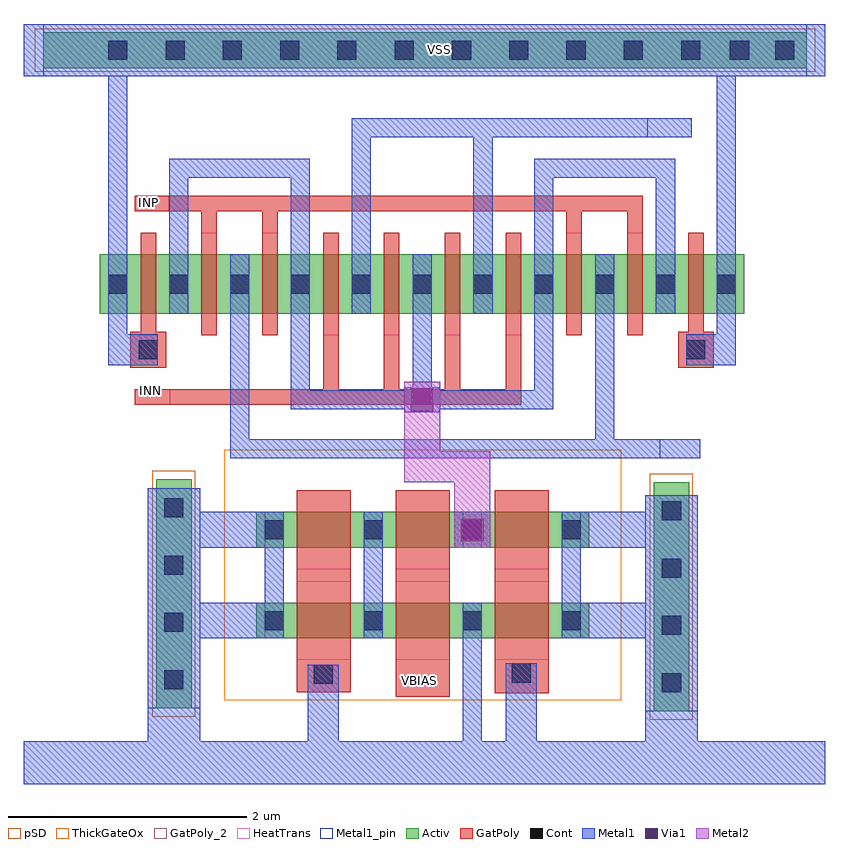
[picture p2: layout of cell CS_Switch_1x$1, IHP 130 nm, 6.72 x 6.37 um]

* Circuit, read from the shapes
.subckt CS_Switch_1x$1 INN INP VBIAS VSS
XM1 n1 VSS VSS VSS sg13_lv_nmos w=0.5u l=0.13u m=2
XM2 n2 INP n1 VSS sg13_lv_nmos w=0.5u l=0.13u m=4
XM3 n3 VSS VSS VSS sg13_hv_nmos w=0.3u l=0.45u m=2
XM4 n4 INN n1 VSS sg13_lv_nmos w=0.5u l=0.13u m=4
XM5 VSS VBIAS n3 VSS sg13_hv_nmos w=0.3u l=0.45u
XM6 n1 VBIAS n3 VSS sg13_hv_nmos w=0.3u l=0.45u
XM7 VSS VSS VSS VSS sg13_hv_nmos w=0.3u l=0.45u
XM8 VSS VSS n1 VSS sg13_hv_nmos w=0.3u l=0.45u
.ends

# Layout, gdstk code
import gdstk
lib = gdstk.Library(unit=1e-6, precision=1e-09)
def R(c, l, rs):  # rectangles x0, y0, x1, y1
    for r in rs: c.add(gdstk.rectangle(r[:2], r[2:], *l))
def A(c, l, x, y, w, h, nx, ny, dx, dy):  # array of equal rectangles
    R(c, l, [(x+i*dx, y+j*dy, x+i*dx+w, y+j*dy+h) for i in range(nx) for j in range(ny)])
def P(c, l, *ps):  # polygons
    for p in ps: c.add(gdstk.Polygon(p, *l))
Activ = (1, 0)
GatPoly = (5, 0)
GatPoly_2 = (5, 2)
Cont = (6, 0)
Metal1 = (8, 0)
Metal1_pin = (8, 2)
Metal2 = (10, 0)
pSD = (14, 0)
Via1 = (19, 0)
ThickGateOx = (44, 0)
HeatTrans = (51, 0)

nmoshv_1_2 = lib.new_cell('nmosHV$1$2')
R(nmoshv_1_2, Activ, [(0,0,0.3,0.3), (0,0,1.13,0.3), (0.83,0,1.13,0.3)])
R(nmoshv_1_2, GatPoly, [(0.34,-0.18,0.79,0.48)])
R(nmoshv_1_2, GatPoly_2, [(0.34,-0.18,0.79,0.48)])
R(nmoshv_1_2, Cont, [(0.07,0.07,0.23,0.23), (0.9,0.07,1.06,0.23)])
R(nmoshv_1_2, Metal1, [(0.07,0,0.23,0.3), (0.9,0,1.06,0.3)])
R(nmoshv_1_2, Metal1_pin, [(0.07,0,0.23,0.3), (0.9,0,1.06,0.3)])
R(nmoshv_1_2, ThickGateOx, [(-0.27,-0.52,1.4,0.82)])
R(nmoshv_1_2, HeatTrans, [(0.34,-0.18,0.79,0.48)])
nmoshv_1_2.add(gdstk.Label('nmosHV', (0.565,0.15), layer=63, texttype=0))
nmoshv_1_2.add(gdstk.Label('nmosHV', (0.565,0.15), layer=51, texttype=0))

via_stack_1_3 = lib.new_cell('via_stack$1$3')
R(via_stack_1_3, Metal1, [(-0.145,-0.105,0.145,0.105)])
R(via_stack_1_3, Metal2, [(-0.145,-0.1,0.145,0.1)])
R(via_stack_1_3, Via1, [(-0.095,-0.095,0.095,0.095)])

nmos_8 = lib.new_cell('nmos$8')
A(nmos_8, Activ, 0, 0, 0.3, 0.3, 3, 1, 0.51, 0)
R(nmos_8, Activ, [(0,0,1.32,0.5)])
R(nmos_8, GatPoly, [(0.34,-0.18,0.47,0.68), (0.85,-0.18,0.98,0.68)])
R(nmos_8, GatPoly_2, [(0.34,-0.18,0.47,0.68)])
A(nmos_8, Cont, 0.07, 0.17, 0.16, 0.16, 3, 1, 0.51, 0)
A(nmos_8, Metal1, 0.07, 0, 0.16, 0.5, 3, 1, 0.51, 0)
R(nmos_8, Metal1_pin, [(0.07,0,0.23,0.5), (0.58,0,0.74,0.5)])
R(nmos_8, HeatTrans, [(0.34,-0.18,0.47,0.68), (0.85,-0.18,0.98,0.68)])
nmos_8.add(gdstk.Label('nmos', (0.405,0.25), layer=63, texttype=0))
nmos_8.add(gdstk.Label('nmos', (0.405,0.25), layer=51, texttype=0))
nmos_8.add(gdstk.Label('nmos', (0.915,0.25), layer=51, texttype=0))

nmoshv_5 = lib.new_cell('nmosHV$5')
R(nmoshv_5, Activ, [(0,0,0.3,0.3), (0,0,1.13,0.3), (0.83,0,1.13,0.3)])
R(nmoshv_5, GatPoly, [(0.34,-0.18,0.79,0.48)])
R(nmoshv_5, GatPoly_2, [(0.34,-0.18,0.79,0.48)])
R(nmoshv_5, Cont, [(0.07,0.07,0.23,0.23), (0.9,0.07,1.06,0.23)])
R(nmoshv_5, Metal1, [(0.07,0,0.23,0.3), (0.9,0,1.06,0.3)])
R(nmoshv_5, Metal1_pin, [(0.07,0,0.23,0.3), (0.9,0,1.06,0.3)])
R(nmoshv_5, ThickGateOx, [(-0.27,-0.52,1.4,0.82)])
R(nmoshv_5, HeatTrans, [(0.34,-0.18,0.79,0.48)])
nmoshv_5.add(gdstk.Label('nmosHV', (0.565,0.15), layer=63, texttype=0))
nmoshv_5.add(gdstk.Label('nmosHV', (0.565,0.15), layer=51, texttype=0))

nmos_3_1 = lib.new_cell('nmos$3$1')
R(nmos_3_1, Activ, [(0,0,0.3,0.3), (0,0,0.81,0.5), (0.51,0,0.81,0.3)])
R(nmos_3_1, GatPoly, [(0.34,-0.18,0.47,0.68)])
R(nmos_3_1, GatPoly_2, [(0.34,-0.18,0.47,0.68)])
R(nmos_3_1, Cont, [(0.07,0.17,0.23,0.33), (0.58,0.17,0.74,0.33)])
R(nmos_3_1, Metal1, [(0.07,0,0.23,0.5), (0.58,0,0.74,0.5)])
R(nmos_3_1, Metal1_pin, [(0.07,0,0.23,0.5), (0.58,0,0.74,0.5)])
R(nmos_3_1, HeatTrans, [(0.34,-0.18,0.47,0.68)])
nmos_3_1.add(gdstk.Label('nmos', (0.405,0.25), layer=63, texttype=0))
nmos_3_1.add(gdstk.Label('nmos', (0.405,0.25), layer=51, texttype=0))

cs_switch_1x_1 = lib.new_cell('CS_Switch_1x$1')
R(cs_switch_1x_1, Activ, [(1.58,-2.68,1.88,-0.76), (-2.59,-2.655,-2.29,-0.735), (-3.535,2.71,2.865,3.01)])
A(cs_switch_1x_1, GatPoly, -1.19, 0.02, 0.13, 0.45, 4, 1, 0.51, 0)
R(cs_switch_1x_1, GatPoly, [(-0.58,-2.56,-0.13,-0.83), (0.25,-2.53,0.7,-0.85), (-1.41,-2.52,-0.96,-0.83), (-2.77,-0.11,0.47,0.02), (-2.805,0.2,-2.505,0.5), (1.785,0.2,2.085,0.5), (-2.21,1.33,-2.08,1.64), (-1.7,1.33,-1.57,1.64), (0.85,1.33,0.98,1.64), (1.36,1.33,1.49,1.64), (-2.77,1.51,0.849,1.64), (0.849,1.51,1.49,1.64)])
R(cs_switch_1x_1, GatPoly_2, [(-0.58,-2.56,-0.13,-2.25), (-2.77,-0.11,-2.47,0.02), (-2.77,1.51,-2.48,1.64)])
R(cs_switch_1x_1, Cont, [(1.65,-2.52,1.81,-2.36), (1.65,-2.52,1.81,-2.36), (-2.52,-2.495,-2.36,-2.335), (-2.52,-2.495,-2.36,-2.335), (-1.27,-2.45,-1.11,-2.29), (0.39,-2.44,0.55,-2.28), (1.65,-2.04,1.81,-1.88), (1.65,-2.04,1.81,-1.88), (-2.52,-2.015,-2.36,-1.855), (-2.52,-2.015,-2.36,-1.855), (1.65,-1.56,1.81,-1.4), (1.65,-1.56,1.81,-1.4), (-2.52,-1.535,-2.36,-1.375), (-2.52,-1.535,-2.36,-1.375), (1.65,-1.08,1.81,-0.92), (1.65,-1.08,1.81,-0.92), (-2.52,-1.055,-2.36,-0.895), (-2.52,-1.055,-2.36,-0.895), (-2.735,0.27,-2.575,0.43), (1.855,0.27,2.015,0.43), (-2.99,2.78,-2.83,2.94), (-2.99,2.78,-2.83,2.94), (-2.51,2.78,-2.35,2.94), (-2.51,2.78,-2.35,2.94), (-2.03,2.78,-1.87,2.94), (-2.03,2.78,-1.87,2.94), (-1.55,2.78,-1.39,2.94), (-1.55,2.78,-1.39,2.94), (-1.07,2.78,-0.91,2.94), (-1.07,2.78,-0.91,2.94), (-0.59,2.78,-0.43,2.94), (-0.59,2.78,-0.43,2.94), (-0.11,2.78,0.05,2.94), (-0.11,2.78,0.05,2.94), (0.37,2.78,0.53,2.94), (0.37,2.78,0.53,2.94), (0.85,2.78,1.01,2.94), (0.85,2.78,1.01,2.94), (1.33,2.78,1.49,2.94), (1.33,2.78,1.49,2.94), (1.81,2.78,1.97,2.94), (1.81,2.78,1.97,2.94), (2.22,2.78,2.38,2.94), (2.22,2.78,2.38,2.94), (2.6,2.78,2.76,2.94), (2.6,2.78,2.76,2.94)])
P(cs_switch_1x_1, Cont, [(0.499,-2.35),(0.499,-2.35),(0.499,-2.35),(0.499,-2.35)])
A(cs_switch_1x_1, Metal1, -1.46, 0.01, 0.16, 0.64, 3, 1, 1.02, 0)
R(cs_switch_1x_1, Metal1, [(-2.421,-2.07,-1.52,-1.77), (-1.68,-2.07,-1.52,-1.01), (0.81,-2.07,0.97,-1.01), (0.81,-2.07,1.95,-1.77), (-0.85,-1.97,-0.69,-1.01), (0.81,-1.97,0.97,-1.01), (-2.421,-1.31,-1.52,-1.01), (-0.09,-1.31,0.21,-1.01), (0.81,-1.31,1.95,-1.01), (-1.97,-0.56,1.97,-0.4), (-1.97,-0.4,-1.81,0.65), (1.09,-0.4,1.25,0.65), (-1.46,-0.15,0.74,0.01), (-2.99,0.22,-2.575,0.48), (1.855,0.22,2.265,0.48), (2.11,0.22,2.27,0.65), (-2.99,0.3,-2.83,0.65), (-2.99,1.15,-2.83,3.08), (-2.48,1.15,-2.32,1.79), (-1.46,1.15,-1.3,1.79), (-0.95,1.15,-0.79,2.13), (0.07,1.15,0.23,2.13), (0.58,1.15,0.74,1.79), (1.6,1.15,1.76,1.79), (2.11,1.15,2.27,3.08), (-2.48,1.79,-1.3,1.95), (0.58,1.79,1.76,1.95), (-0.95,2.13,1.9,2.29), (-3.7,2.64,3.02,3.08)])
P(cs_switch_1x_1, Metal1, [(-3.7,-3.29),(-3.7,-2.93),(-2.66,-2.93),(-2.66,-0.81),(-2.22,-0.81),(-2.22,-2.93),(-1.32,-2.93),(-1.32,-2.29),(-1.06,-2.29),(-1.06,-2.93),(-0.02,-2.93),(-0.02,-1.77),(0.14,-1.77),(0.14,-2.93),(0.34,-2.93),(0.34,-2.28),(0.6,-2.28),(0.6,-2.93),(1.51,-2.93),(1.51,-0.87),(1.95,-0.87),(1.95,-2.93),(3.02,-2.93),(3.02,-3.29)])
R(cs_switch_1x_1, Metal1_pin, [(1.51,-2.68,1.95,-0.87), (-2.66,-2.655,-2.22,-0.81), (1.63,-0.56,1.97,-0.4), (1.525,2.13,1.9,2.29), (-3.535,2.64,2.865,3.08)])
R(cs_switch_1x_1, Metal2, [(-0.09,-1.31,0.21,-0.76), (-0.51,-0.76,0.21,-0.5), (-0.51,-0.76,-0.21,0.08)])
R(cs_switch_1x_1, pSD, [(1.55,-2.75,1.91,-0.69), (-2.62,-2.725,-2.26,-0.665), (-3.605,2.68,2.935,3.04)])
R(cs_switch_1x_1, Via1, [(-0.035,-1.255,0.155,-1.065)])
cs_switch_1x_1.add(gdstk.Reference(nmoshv_1_2, (-0.92,-2.07)))
cs_switch_1x_1.add(gdstk.Reference(via_stack_1_3, (-0.36,-0.07)))
cs_switch_1x_1.add(gdstk.Reference(nmoshv_1_2, (-0.92,-1.31)))
cs_switch_1x_1.add(gdstk.Reference(nmos_8, (-0.51,1.15), x_reflection=True))
cs_switch_1x_1.add(gdstk.Reference(nmos_8, (-1.53,1.15), x_reflection=True))
cs_switch_1x_1.add(gdstk.Reference(nmos_8, (0.51,1.15), x_reflection=True))
cs_switch_1x_1.add(gdstk.Reference(nmos_8, (-2.55,1.15), x_reflection=True))
cs_switch_1x_1.add(gdstk.Reference(nmoshv_5, (-1.75,-2.07)))
cs_switch_1x_1.add(gdstk.Reference(nmoshv_5, (-1.75,-1.31)))
cs_switch_1x_1.add(gdstk.Reference(nmoshv_5, (-0.09,-2.07)))
cs_switch_1x_1.add(gdstk.Reference(nmoshv_5, (-0.09,-1.31)))
cs_switch_1x_1.add(gdstk.Reference(nmos_3_1, (-3.06,0.65)))
cs_switch_1x_1.add(gdstk.Reference(nmos_3_1, (1.53,0.65)))
cs_switch_1x_1.add(gdstk.Label('INP', (-2.651,1.58), layer=5, texttype=1))
cs_switch_1x_1.add(gdstk.Label('INN', (-2.64,0.005), layer=5, texttype=1))
cs_switch_1x_1.add(gdstk.Label('VBIAS', (-0.38,-2.42), layer=5, texttype=1))
cs_switch_1x_1.add(gdstk.Label('VSS', (-0.211,2.87), layer=8, texttype=25))

lib.write_gds('CS_Switch_1x_1.gds')
